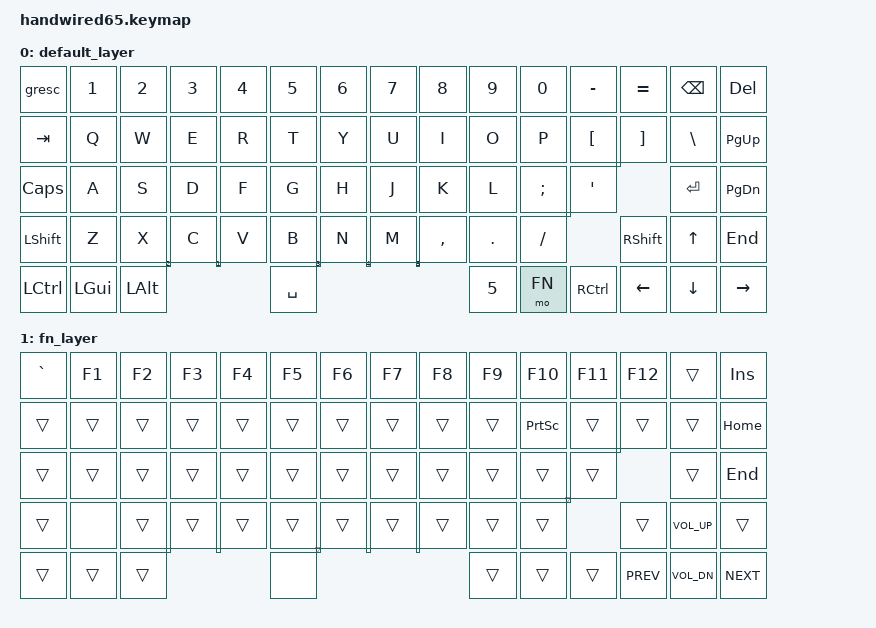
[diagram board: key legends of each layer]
/*
 * Copyright (c) 2024 Alex Girard
 *
 * SPDX-License-Identifier: MIT
 *
 * Standard QWERTY layout for hand-wired 65% keyboard
 *
 * NOTE: This keymap uses all 75 matrix positions (15x5).
 * Positions without a physical switch use &none.
 * After wiring to the MCU, test each key and adjust the
 * transform/keymap if keys don't match expected positions.
 */

#include <behaviors.dtsi>
#include <dt-bindings/zmk/keys.h>
#include <dt-bindings/zmk/bt.h>
#include <dt-bindings/zmk/reset.h>


#define XXX &none
#define ___ &none
#define DEF 0
#define FN  1

/ {
    combos {
        compatible = "zmk,combos";

        combo_bootloader {
            timeout-ms = <200>;
            key-positions = <14 29 44>; /* Del + PgUp + PgDn */
            bindings = <&bootloader>;
        };
    };

    keymap {
        compatible = "zmk,keymap";

        default_layer {
            bindings = <
// ┌──────┬─────┬─────┬─────┬─────┬─────┬─────┬─────┬─────┬─────┬─────┬─────┬─────┬─────┬─────┐
// │  ESC │  1  │  2  │  3  │  4  │  5  │  6  │  7  │  8  │  9  │  0  │  -  │  =  │BKSP │ DEL │
// ├──────┼─────┼─────┼─────┼─────┼─────┼─────┼─────┼─────┼─────┼─────┼─────┼─────┼─────┼─────┤
// │ TAB  │  Q  │  W  │  E  │  R  │  T  │  Y  │  U  │  I  │  O  │  P  │  [  │  ]  │  \  │PgUp │
// ├──────┼─────┼─────┼─────┼─────┼─────┼─────┼─────┼─────┼─────┼─────┼─────┼─────┼─────┼─────┤
// │ CAPS │  A  │  S  │  D  │  F  │  G  │  H  │  J  │  K  │  L  │  ;  │  '  │     │ENTER│PgDn │
// ├──────┼─────┼─────┼─────┼─────┼─────┼─────┼─────┼─────┼─────┼─────┼─────┼─────┼─────┼─────┤
// │LSHFT │     │  Z  │  X  │  C  │  V  │  B  │  N  │  M  │  ,  │  .  │  /  │RSHFT│  ▲  │ END │
// ├──────┼─────┼─────┼─────┼─────┼─────┼─────┼─────┼─────┼─────┼─────┼─────┼─────┼─────┼─────┤
// │LCTRL │ GUI │LALT │     │     │SPACE│RALT │     │     │     │  FN │RCTRL│  ◄  │  ▼  │  ►  │
// └──────┴─────┴─────┴─────┴─────┴─────┴─────┴─────┴─────┴─────┴─────┴─────┴─────┴─────┴─────┘
                &gresc     &kp N1    &kp N2    &kp N3  &kp N4  &kp N5  &kp N6     &kp N7  &kp N8     &kp N9     &kp N0    &kp MINUS  &kp EQUAL  &kp BSPC   &kp DEL
                &kp TAB    &kp Q     &kp W     &kp E   &kp R   &kp T   &kp Y      &kp U   &kp I      &kp O      &kp P     &kp LBKT   &kp RBKT   &kp BSLH   &kp PG_UP
                &kp CAPS   &kp A     &kp S     &kp D   &kp F   &kp G   &kp H      &kp J   &kp K      &kp L      &kp SEMI  &kp SQT    &none      &kp RET    &kp PG_DN
                &kp LSHFT  &kp Z     &kp X   &kp C   &kp V   &kp B      &kp N   &kp M      &kp COMMA  &kp DOT   &kp FSLH ___   &kp RSHFT  &kp UP     &kp END
                &kp LCTRL  &kp LGUI  &kp LALT  &kp N2     &kp N1     &kp SPACE  &kp N3 &kp N4    &kp N5     &kp N5   &mo FN    &kp RCTRL  &kp LEFT   &kp DOWN   &kp RIGHT
            >;
        };

        fn_layer {
            bindings = <
                &kp GRAVE  &kp F1    &kp F2    &kp F3  &kp F4  &kp F5  &kp F6     &kp F7  &kp F8     &kp F9     &kp F10   &kp F11    &kp F12    &trans     &kp INS
                &trans     &trans    &trans    &trans  &trans  &trans  &trans     &trans  &trans     &trans     &kp PSCRN &trans     &trans     &trans     &kp HOME
                &trans     &trans    &trans    &trans  &trans  &trans  &trans     &trans  &trans     &trans     &trans    &trans     &none      &trans     &kp END
                &trans     &none     &trans    &trans  &trans  &trans  &trans     &trans  &trans     &trans     &trans    &trans     &trans     &kp C_VOL_UP &trans
                &trans     &trans    &trans    &none   &none   &none   &trans     &none   &none      &trans     &trans    &trans     &kp C_PREV &kp C_VOL_DN &kp C_NEXT
            >;
        };
    };
};
